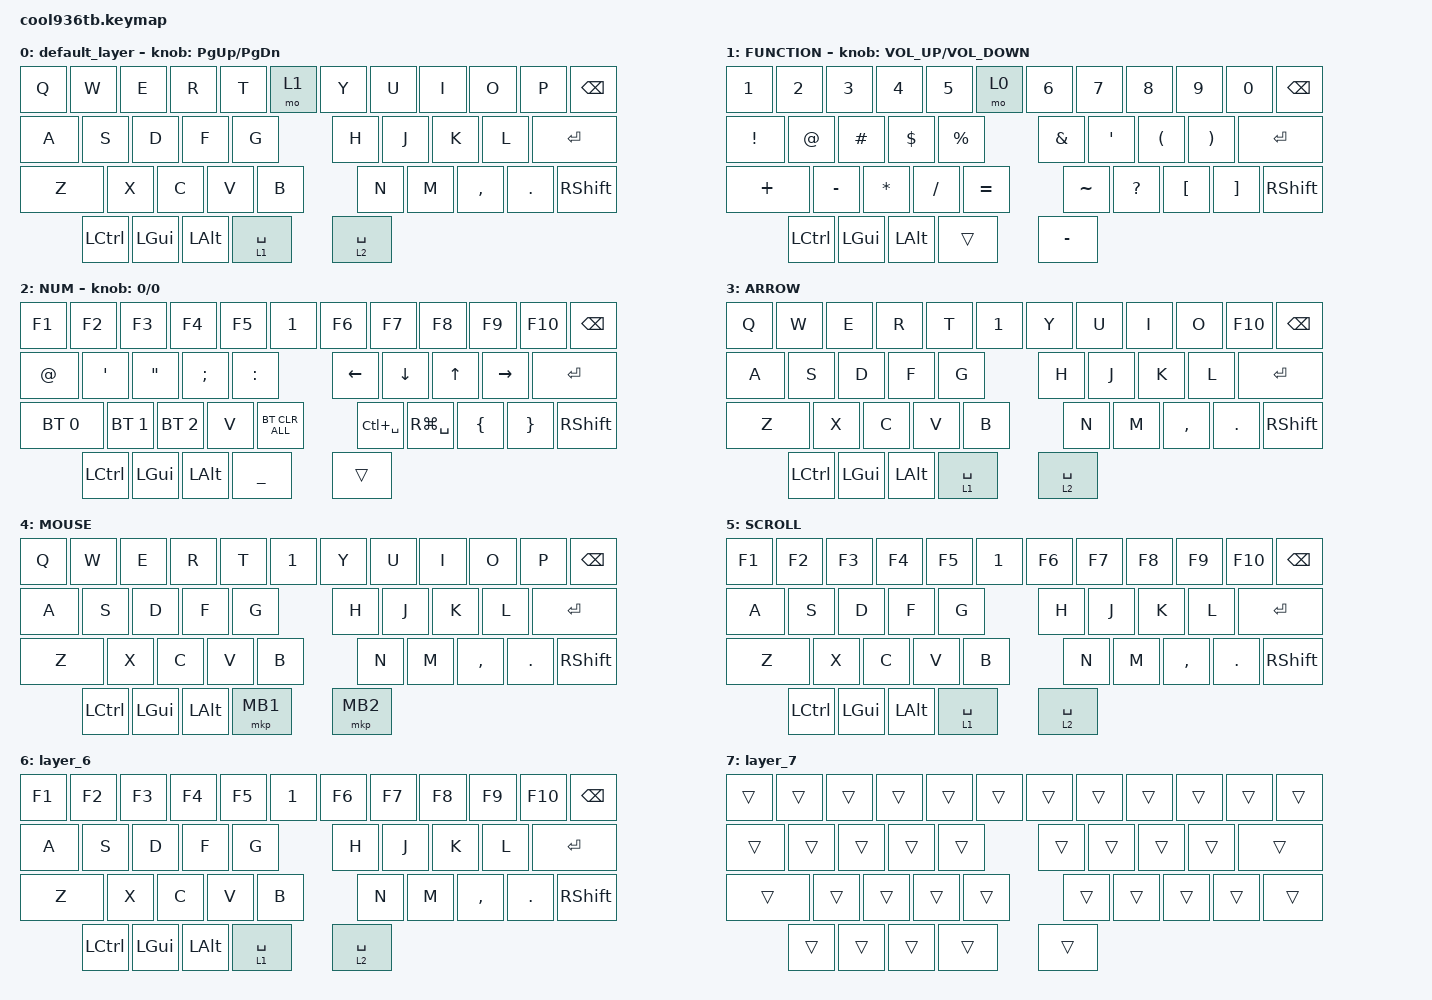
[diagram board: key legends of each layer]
#include <behaviors.dtsi>
#include <dt-bindings/zmk/bt.h>
#include <dt-bindings/zmk/keys.h>
#include <dt-bindings/zmk/pointing.h>

#define MOUSE 4
#define SCROLL 5
#define NUM 6

&mt {
    flavor = "balanced";
    quick-tap-ms = <0>;
};

/ {
    combos {
        compatible = "zmk,combos";

        ms_scrl {
            bindings = <&mo 1>;
            key-positions = <29 30>;
            layers = <1>;
        };

        shift_tab {
            bindings = <&kp LS(ESC)>;
            key-positions = <0 1>;
        };

        Tab {
            bindings = <&kp TAB>;
            key-positions = <12 13>;
        };

        CapsLock {
            bindings = <&kp CAPS>;
            key-positions = <22 23>;
        };

        eq {
            bindings = <&kp EQUAL>;
            key-positions = <24 25>;
        };
    };

    macros {
        to_layer_0: to_layer_0 {
            compatible = "zmk,behavior-macro-one-param";
            #binding-cells = <1>;
            bindings = <&to 0 &macro_param_1to1 &kp MACRO_PLACEHOLDER>;
            label = "TO_LAYER_0";
        };
    };

    behaviors {
        lt_to_layer_0: lt_to_layer_0 {
            compatible = "zmk,behavior-hold-tap";
            label = "LAYER_TAP_TO_0";
            bindings = <&mo>, <&to_layer_0>;

            #binding-cells = <2>;
            tapping-term-ms = <200>;
        };
    };

    keymap {
        compatible = "zmk,keymap";

        default_layer {
            bindings = <
&kp Q      &kp W     &kp E     &kp R        &kp T        &mo 1  &kp Y  &kp U      &kp I       &kp O       &kp P  &kp BSPC
&kp A      &kp S     &kp D     &kp F        &kp G        &kp H  &kp J  &kp K      &kp L       &kp ENTER
&kp Z      &kp X     &kp C     &kp V        &kp B        &kp N  &kp M  &kp COMMA  &kp PERIOD  &kp RSHIFT
&kp LCTRL  &kp LGUI  &kp LALT  &lt 1 SPACE  &lt 2 SPACE
            >;

            sensor-bindings = <&inc_dec_kp PG_UP PAGE_DOWN>;
        };

        FUNCTION {
            bindings = <
&kp N1           &kp N2        &kp N3        &kp N4      &kp N5       &mo 0          &kp N6        &kp N7                &kp N8                 &kp N9      &kp N0  &kp BACKSPACE
&kp EXCLAMATION  &kp AT_SIGN   &kp HASH      &kp DOLLAR  &kp PERCENT  &kp AMPERSAND  &kp SQT       &kp LEFT_PARENTHESIS  &kp RIGHT_PARENTHESIS  &kp ENTER
&kp PLUS         &kp MINUS     &kp ASTERISK  &kp SLASH   &kp EQUAL    &kp TILDE      &kp QUESTION  &kp LEFT_BRACKET      &kp RIGHT_BRACKET      &kp RSHIFT
&kp LCTRL        &kp LEFT_GUI  &kp LALT      &trans      &kp MINUS
            >;

            sensor-bindings = <&inc_dec_kp C_VOLUME_UP K_VOLUME_DOWN>;
        };

        NUM {
            bindings = <
&kp F1        &kp F2        &kp F3             &kp F4          &kp F5          &kp N1         &kp F6          &kp F7          &kp F8           &kp F9      &kp F10  &kp BSPC
&kp AT_SIGN   &kp SQT       &kp DOUBLE_QUOTES  &kp SEMICOLON   &kp COLON       &kp LEFT       &kp DOWN_ARROW  &kp UP_ARROW    &kp RIGHT        &kp ENTER
&bt BT_SEL 0  &bt BT_SEL 1  &bt BT_SEL 2       &kp V           &bt BT_CLR_ALL  &kp LC(SPACE)  &kp RG(SPACE)   &kp LEFT_BRACE  &kp RIGHT_BRACE  &kp RSHIFT
&kp LCTRL     &kp LGUI      &kp LALT           &kp UNDERSCORE  &trans
            >;

            sensor-bindings = <&inc_dec_kp 0 0>;
        };

        ARROW {
            bindings = <
&kp Q      &kp W     &kp E     &kp R        &kp T        &kp N1  &kp Y  &kp U      &kp I       &kp O       &kp F10  &kp BSPC
&kp A      &kp S     &kp D     &kp F        &kp G        &kp H   &kp J  &kp K      &kp L       &kp ENTER
&kp Z      &kp X     &kp C     &kp V        &kp B        &kp N   &kp M  &kp COMMA  &kp PERIOD  &kp RSHIFT
&kp LCTRL  &kp LGUI  &kp LALT  &lt 1 SPACE  &lt 2 SPACE
            >;
        };

        MOUSE {
            bindings = <
&kp Q             &kp W         &kp E         &kp R     &kp T     &kp N1  &kp Y  &kp U      &kp I       &kp O            &kp P  &kp BSPC
&kp A             &kp S         &kp D         &kp F     &kp G     &kp H   &kp J  &kp K      &kp L       &kp ENTER
&kp Z             &kp X         &kp C         &kp V     &kp B     &kp N   &kp M  &kp COMMA  &kp PERIOD  &kp RIGHT_SHIFT
&kp LEFT_CONTROL  &kp LEFT_GUI  &kp LEFT_ALT  &mkp MB1  &mkp MB2
            >;
        };

        SCROLL {
            bindings = <
&kp F1     &kp F2    &kp F3    &kp F4       &kp F5       &kp N1  &kp F6  &kp F7     &kp F8      &kp F9      &kp F10  &kp BSPC
&kp A      &kp S     &kp D     &kp F        &kp G        &kp H   &kp J   &kp K      &kp L       &kp ENTER
&kp Z      &kp X     &kp C     &kp V        &kp B        &kp N   &kp M   &kp COMMA  &kp PERIOD  &kp RSHIFT
&kp LCTRL  &kp LGUI  &kp LALT  &lt 1 SPACE  &lt 2 SPACE
            >;
        };

        layer_6 {
            bindings = <
&kp F1     &kp F2    &kp F3    &kp F4       &kp F5       &kp N1  &kp F6  &kp F7     &kp F8      &kp F9      &kp F10  &kp BSPC
&kp A      &kp S     &kp D     &kp F        &kp G        &kp H   &kp J   &kp K      &kp L       &kp ENTER
&kp Z      &kp X     &kp C     &kp V        &kp B        &kp N   &kp M   &kp COMMA  &kp PERIOD  &kp RSHIFT
&kp LCTRL  &kp LGUI  &kp LALT  &lt 1 SPACE  &lt 2 SPACE
            >;
        };

        layer_7 {
            bindings = <
&trans  &trans  &trans  &trans  &trans  &trans  &trans  &trans  &trans  &trans  &trans  &trans
&trans  &trans  &trans  &trans  &trans  &trans  &trans  &trans  &trans  &trans
&trans  &trans  &trans  &trans  &trans  &trans  &trans  &trans  &trans  &trans
&trans  &trans  &trans  &trans  &trans
            >;
        };
    };
};
